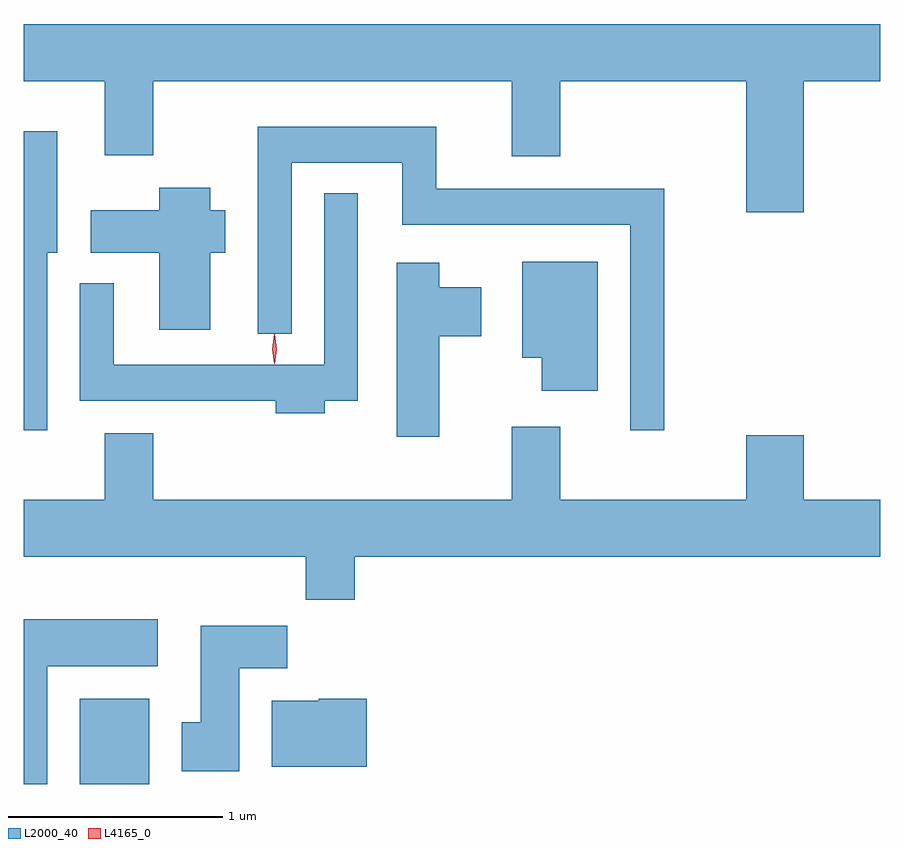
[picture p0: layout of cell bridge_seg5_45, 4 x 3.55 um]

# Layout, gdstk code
import gdstk
lib = gdstk.Library(unit=1e-6, precision=1e-09)
def R(c, l, rs):  # rectangles x0, y0, x1, y1
    for r in rs: c.add(gdstk.rectangle(r[:2], r[2:], *l))
def P(c, l, *ps):  # polygons
    for p in ps: c.add(gdstk.Polygon(p, *l))
L2000_40 = (2000, 40)
L4165_0 = (4165, 0)

bridge_seg5_45 = lib.new_cell('bridge_seg5_45')
R(bridge_seg5_45, L2000_40, [(1330.846,1466.836,1331.169,1467.234)])
P(bridge_seg5_45, L2000_40, [(1334.224,1470.116),(1334.583,1470.116),(1334.583,1470.384),(1330.583,1470.384),(1330.583,1470.116),(1330.961,1470.116),(1330.961,1469.771),(1331.189,1469.771),(1331.189,1470.116),(1332.861,1470.116),(1332.861,1469.766),(1333.089,1469.766),(1333.089,1470.116),(1333.956,1470.116),(1333.956,1469.506),(1334.224,1469.506)],
  [(1333.574,1469.614),(1332.509,1469.614),(1332.509,1469.904),(1331.676,1469.904),(1331.676,1468.938),(1331.834,1468.938),(1331.834,1469.736),(1332.351,1469.736),(1332.351,1469.446),(1333.416,1469.446),(1333.416,1468.488),(1333.574,1468.488)],
  [(1330.694,1469.316),(1330.739,1469.316),(1330.739,1469.884),(1330.583,1469.884),(1330.583,1468.488),(1330.694,1468.488)],
  [(1331.454,1469.316),(1331.524,1469.316),(1331.524,1469.514),(1331.454,1469.514),(1331.454,1469.619),(1331.216,1469.619),(1331.216,1469.514),(1330.896,1469.514),(1330.896,1469.316),(1331.216,1469.316),(1331.216,1468.956),(1331.454,1468.956)],
  [(1331.989,1468.626),(1332.144,1468.626),(1332.144,1469.593),(1331.986,1469.593),(1331.986,1468.794),(1331.004,1468.794),(1331.004,1469.173),(1330.846,1469.173),(1330.846,1468.626),(1331.761,1468.626),(1331.761,1468.566),(1331.989,1468.566)],
  [(1333.264,1469.274),(1332.911,1469.274),(1332.911,1468.826),(1333.001,1468.826),(1333.001,1468.671),(1333.264,1468.671)],
  [(1332.524,1468.926),(1332.719,1468.926),(1332.719,1469.154),(1332.524,1469.154),(1332.524,1469.269),(1332.326,1469.269),(1332.326,1468.456),(1332.524,1468.456)],
  [(1332.129,1467.896),(1334.583,1467.896),(1334.583,1468.164),(1334.224,1468.164),(1334.224,1468.464),(1333.956,1468.464),(1333.956,1468.164),(1333.089,1468.164),(1333.089,1468.504),(1332.861,1468.504),(1332.861,1468.164),(1331.189,1468.164),(1331.189,1468.474),(1330.961,1468.474),(1330.961,1468.164),(1330.583,1468.164),(1330.583,1467.896),(1331.901,1467.896),(1331.901,1467.696),(1332.129,1467.696)],
  [(1330.694,1467.386),(1331.209,1467.386),(1331.209,1467.604),(1330.583,1467.604),(1330.583,1466.836),(1330.694,1466.836)],
  [(1331.589,1467.376),(1331.814,1467.376),(1331.814,1467.574),(1331.411,1467.574),(1331.411,1467.124),(1331.321,1467.124),(1331.321,1466.896),(1331.589,1466.896)],
  [(1332.184,1467.234),(1331.96,1467.234),(1331.96,1467.224),(1331.741,1467.224),(1331.741,1466.916),(1332.184,1466.916)])
P(bridge_seg5_45, L4165_0, [(1331.755,1468.797),(1331.754,1468.798),(1331.745,1468.866),(1331.754,1468.936),(1331.755,1468.936),(1331.755,1468.936),(1331.765,1468.866),(1331.755,1468.798)],
  [(1331.755,1468.799),(1331.754,1468.8),(1331.745,1468.866),(1331.754,1468.932),(1331.755,1468.933),(1331.755,1468.932),(1331.765,1468.866),(1331.755,1468.8)])

lib.write_gds('bridge_seg5_45.gds')
